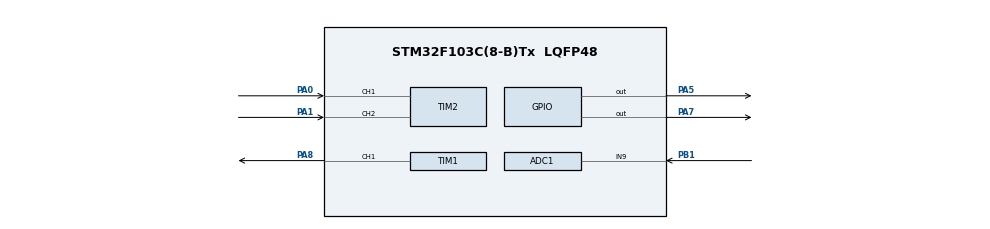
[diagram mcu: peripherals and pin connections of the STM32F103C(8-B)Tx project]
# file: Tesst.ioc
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ADC1.Channel-0\#ChannelRegularConversion=ADC_CHANNEL_9
ADC1.ContinuousConvMode=ENABLE
ADC1.NbrOfConversionFlag=1
ADC1.Rank-0\#ChannelRegularConversion=1
ADC1.SamplingTime-0\#ChannelRegularConversion=ADC_SAMPLETIME_1CYCLE_5
ADC1.master=1
Mcu.Family=STM32F1
Mcu.Name=STM32F103C(8-B)Tx
Mcu.Package=LQFP48
NVIC.PriorityGroup=NVIC_PRIORITYGROUP_4
PA0-WKUP.GPIO_PuPd=GPIO_PULLUP
PA0-WKUP.Signal=S_TIM2_CH1_ETR
PA1.GPIO_PuPd=GPIO_PULLUP
PA1.Signal=S_TIM2_CH2
PA13.Mode=Serial_Wire
PA13.Signal=SYS_JTMS-SWDIO
PA14.Mode=Serial_Wire
PA14.Signal=SYS_JTCK-SWCLK
PA5.Signal=GPIO_Output
PA7.Signal=GPIO_Output
PA8.Signal=S_TIM1_CH1
PB1.Signal=ADCx_IN9
PD0-OSC_IN.Mode=HSE-External-Oscillator
PD0-OSC_IN.Signal=RCC_OSC_IN
PD1-OSC_OUT.Mode=HSE-External-Oscillator
PD1-OSC_OUT.Signal=RCC_OSC_OUT
ProjectManager.HeapSize=0x200
ProjectManager.StackSize=0x400
ProjectManager.TargetToolchain=MDK-ARM V5
RCC.APB1Freq_Value=8000000
RCC.APB2Freq_Value=8000000
SH.ADCx_IN9.0=ADC1_IN9,IN9
SH.S_TIM1_CH1.0=TIM1_CH1,PWM Generation1 CH1
SH.S_TIM2_CH1_ETR.0=TIM2_CH1,Encoder_Interface
SH.S_TIM2_CH2.0=TIM2_CH2,Encoder_Interface
TIM1.Channel-PWM\ Generation1\ CH1=TIM_CHANNEL_1
TIM1.Period=999
TIM1.Pulse-PWM\ Generation1\ CH1=499
TIM2.EncoderMode=TIM_ENCODERMODE_TI12
VP_TIM1_VS_ClockSourceINT.Mode=Internal
board=custom

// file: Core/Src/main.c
/* USER CODE BEGIN Header */
/**
  ******************************************************************************
  * @file           : main.c
  * @brief          : Main program body
  ******************************************************************************
  * @attention
  *
  * <h2><center>&copy; Copyright (c) 2023 STMicroelectronics.
  * All rights reserved.</center></h2>
  *
  * This software component is licensed by ST under BSD 3-Clause license,
  * the "License"; You may not use this file except in compliance with the
  * License. You may obtain a copy of the License at:
  *                        opensource.org/licenses/BSD-3-Clause
  *
  ******************************************************************************
  */
/* USER CODE END Header */
#include "main.h"

ADC_HandleTypeDef hadc1;

TIM_HandleTypeDef htim1;
TIM_HandleTypeDef htim2;

void SystemClock_Config(void);
static void MX_GPIO_Init(void);
static void MX_ADC1_Init(void);
static void MX_TIM1_Init(void);
static void MX_TIM2_Init(void);

int main(void)
{
  /* USER CODE BEGIN 1 */
	volatile short encoder_cnt = 0, encoder_cnt_pre = 0;
	volatile short rate =0;
  /* USER CODE END 1 */

  /* MCU Configuration--------------------------------------------------------*/

  /* Reset of all peripherals, Initializes the Flash interface and the Systick. */
  HAL_Init();

  /* Configure the system clock */
  SystemClock_Config();

  /* Initialize all configured peripherals */
  MX_GPIO_Init();
  MX_TIM2_Init();
  MX_ADC1_Init();
  MX_TIM1_Init();
  /* USER CODE BEGIN 2 */
	HAL_TIM_PWM_Start(&htim1, TIM_CHANNEL_1);
	HAL_TIM_Encoder_Start(&htim2, TIM_CHANNEL_1 | TIM_CHANNEL_2);
	HAL_ADC_Start(&hadc1);  //PB1
  uint16_t readValue;
  int speed;
  HAL_GPIO_WritePin(GPIOA, GPIO_PIN_7, 0);
  HAL_GPIO_WritePin(GPIOA, GPIO_PIN_5, 0);
  /* USER CODE END 2 */

  /* Infinite loop */
  while (1)
  {

    /* USER CODE BEGIN 3 */
		HAL_ADC_PollForConversion(&hadc1,1000);
    readValue = HAL_ADC_GetValue(&hadc1);
    if (readValue < 1790) {
      HAL_GPIO_WritePin(GPIOA, GPIO_PIN_7, 0);
      HAL_GPIO_WritePin(GPIOA, GPIO_PIN_5, 1);
      speed = (readValue - 1790) * (-1) / 3;
    }
		else if (readValue > 2220) {
      HAL_GPIO_WritePin(GPIOA, GPIO_PIN_5, 0);
      HAL_GPIO_WritePin(GPIOA, GPIO_PIN_7, 1);
      speed = (readValue - 2220) / 3;
    }
		else {
      speed = 0;
    }
    __HAL_TIM_SET_COMPARE(&htim1,TIM_CHANNEL_1, speed);
    HAL_Delay(50);
  /* USER CODE END 3 */
}

void SystemClock_Config(void)
{
  RCC_OscInitTypeDef RCC_OscInitStruct = {0};
  RCC_ClkInitTypeDef RCC_ClkInitStruct = {0};
  RCC_PeriphCLKInitTypeDef PeriphClkInit = {0};

  /** Initializes the RCC Oscillators according to the specified parameters
  * in the RCC_OscInitTypeDef structure.
  */
  RCC_OscInitStruct.OscillatorType = RCC_OSCILLATORTYPE_HSI;
  RCC_OscInitStruct.HSIState = RCC_HSI_ON;
  RCC_OscInitStruct.HSICalibrationValue = RCC_HSICALIBRATION_DEFAULT;
  RCC_OscInitStruct.PLL.PLLState = RCC_PLL_NONE;
  if (HAL_RCC_OscConfig(&RCC_OscInitStruct) != HAL_OK)
  {
    Error_Handler();
  }
  /** Initializes the CPU, AHB and APB buses clocks
  */
  RCC_ClkInitStruct.ClockType = RCC_CLOCKTYPE_HCLK|RCC_CLOCKTYPE_SYSCLK
                              |RCC_CLOCKTYPE_PCLK1|RCC_CLOCKTYPE_PCLK2;
  RCC_ClkInitStruct.SYSCLKSource = RCC_SYSCLKSOURCE_HSI;
  RCC_ClkInitStruct.AHBCLKDivider = RCC_SYSCLK_DIV1;
  RCC_ClkInitStruct.APB1CLKDivider = RCC_HCLK_DIV1;
  RCC_ClkInitStruct.APB2CLKDivider = RCC_HCLK_DIV1;

  if (HAL_RCC_ClockConfig(&RCC_ClkInitStruct, FLASH_LATENCY_0) != HAL_OK)
  {
    Error_Handler();
  }
  PeriphClkInit.PeriphClockSelection = RCC_PERIPHCLK_ADC;
  PeriphClkInit.AdcClockSelection = RCC_ADCPCLK2_DIV2;
  if (HAL_RCCEx_PeriphCLKConfig(&PeriphClkInit) != HAL_OK)
  {
    Error_Handler();
  }
}

static void MX_ADC1_Init(void)
{

  ADC_ChannelConfTypeDef sConfig = {0};

  /** Common config
  */
  hadc1.Instance = ADC1;
  hadc1.Init.ScanConvMode = ADC_SCAN_DISABLE;
  hadc1.Init.ContinuousConvMode = ENABLE;
  hadc1.Init.DiscontinuousConvMode = DISABLE;
  hadc1.Init.ExternalTrigConv = ADC_SOFTWARE_START;
  hadc1.Init.DataAlign = ADC_DATAALIGN_RIGHT;
  hadc1.Init.NbrOfConversion = 1;
  if (HAL_ADC_Init(&hadc1) != HAL_OK)
  {
    Error_Handler();
  }
  /** Configure Regular Channel
  */
  sConfig.Channel = ADC_CHANNEL_9;
  sConfig.Rank = ADC_REGULAR_RANK_1;
  sConfig.SamplingTime = ADC_SAMPLETIME_1CYCLE_5;
  if (HAL_ADC_ConfigChannel(&hadc1, &sConfig) != HAL_OK)
  {
    Error_Handler();
  }

}

static void MX_TIM1_Init(void)
{

  TIM_ClockConfigTypeDef sClockSourceConfig = {0};
  TIM_MasterConfigTypeDef sMasterConfig = {0};
  TIM_OC_InitTypeDef sConfigOC = {0};
  TIM_BreakDeadTimeConfigTypeDef sBreakDeadTimeConfig = {0};

  htim1.Instance = TIM1;
  htim1.Init.Prescaler = 0;
  htim1.Init.CounterMode = TIM_COUNTERMODE_UP;
  htim1.Init.Period = 999;
  htim1.Init.ClockDivision = TIM_CLOCKDIVISION_DIV1;
  htim1.Init.RepetitionCounter = 0;
  htim1.Init.AutoReloadPreload = TIM_AUTORELOAD_PRELOAD_DISABLE;
  if (HAL_TIM_Base_Init(&htim1) != HAL_OK)
  {
    Error_Handler();
  }
  sClockSourceConfig.ClockSource = TIM_CLOCKSOURCE_INTERNAL;
  if (HAL_TIM_ConfigClockSource(&htim1, &sClockSourceConfig) != HAL_OK)
  {
    Error_Handler();
  }
  if (HAL_TIM_PWM_Init(&htim1) != HAL_OK)
  {
    Error_Handler();
  }
  sMasterConfig.MasterOutputTrigger = TIM_TRGO_RESET;
  sMasterConfig.MasterSlaveMode = TIM_MASTERSLAVEMODE_DISABLE;
  if (HAL_TIMEx_MasterConfigSynchronization(&htim1, &sMasterConfig) != HAL_OK)
  {
    Error_Handler();
  }
  sConfigOC.OCMode = TIM_OCMODE_PWM1;
  sConfigOC.Pulse = 499;
  sConfigOC.OCPolarity = TIM_OCPOLARITY_HIGH;
  sConfigOC.OCNPolarity = TIM_OCNPOLARITY_HIGH;
  sConfigOC.OCFastMode = TIM_OCFAST_DISABLE;
  sConfigOC.OCIdleState = TIM_OCIDLESTATE_RESET;
  sConfigOC.OCNIdleState = TIM_OCNIDLESTATE_RESET;
  if (HAL_TIM_PWM_ConfigChannel(&htim1, &sConfigOC, TIM_CHANNEL_1) != HAL_OK)
  {
    Error_Handler();
  }
  sBreakDeadTimeConfig.OffStateRunMode = TIM_OSSR_DISABLE;
  sBreakDeadTimeConfig.OffStateIDLEMode = TIM_OSSI_DISABLE;
  sBreakDeadTimeConfig.LockLevel = TIM_LOCKLEVEL_OFF;
  sBreakDeadTimeConfig.DeadTime = 0;
  sBreakDeadTimeConfig.BreakState = TIM_BREAK_DISABLE;
  sBreakDeadTimeConfig.BreakPolarity = TIM_BREAKPOLARITY_HIGH;
  sBreakDeadTimeConfig.AutomaticOutput = TIM_AUTOMATICOUTPUT_DISABLE;
  if (HAL_TIMEx_ConfigBreakDeadTime(&htim1, &sBreakDeadTimeConfig) != HAL_OK)
  {
    Error_Handler();
  }
  HAL_TIM_MspPostInit(&htim1);

}

static void MX_TIM2_Init(void)
{

  TIM_Encoder_InitTypeDef sConfig = {0};
  TIM_MasterConfigTypeDef sMasterConfig = {0};

  htim2.Instance = TIM2;
  htim2.Init.Prescaler = 0;
  htim2.Init.CounterMode = TIM_COUNTERMODE_UP;
  htim2.Init.Period = 65535;
  htim2.Init.ClockDivision = TIM_CLOCKDIVISION_DIV1;
  htim2.Init.AutoReloadPreload = TIM_AUTORELOAD_PRELOAD_DISABLE;
  sConfig.EncoderMode = TIM_ENCODERMODE_TI12;
  sConfig.IC1Polarity = TIM_ICPOLARITY_RISING;
  sConfig.IC1Selection = TIM_ICSELECTION_DIRECTTI;
  sConfig.IC1Prescaler = TIM_ICPSC_DIV1;
  sConfig.IC1Filter = 0;
  sConfig.IC2Polarity = TIM_ICPOLARITY_RISING;
  sConfig.IC2Selection = TIM_ICSELECTION_DIRECTTI;
  sConfig.IC2Prescaler = TIM_ICPSC_DIV1;
  sConfig.IC2Filter = 0;
  if (HAL_TIM_Encoder_Init(&htim2, &sConfig) != HAL_OK)
  {
    Error_Handler();
  }
  sMasterConfig.MasterOutputTrigger = TIM_TRGO_RESET;
  sMasterConfig.MasterSlaveMode = TIM_MASTERSLAVEMODE_DISABLE;
  if (HAL_TIMEx_MasterConfigSynchronization(&htim2, &sMasterConfig) != HAL_OK)
  {
    Error_Handler();
  }

}

static void MX_GPIO_Init(void)
{
  GPIO_InitTypeDef GPIO_InitStruct = {0};

  /* GPIO Ports Clock Enable */
  __HAL_RCC_GPIOD_CLK_ENABLE();
  __HAL_RCC_GPIOA_CLK_ENABLE();
  __HAL_RCC_GPIOB_CLK_ENABLE();

  /*Configure GPIO pin Output Level */
  HAL_GPIO_WritePin(GPIOA, GPIO_PIN_5|GPIO_PIN_7, GPIO_PIN_RESET);

  /*Configure GPIO pins : PA5 PA7 */
  GPIO_InitStruct.Pin = GPIO_PIN_5|GPIO_PIN_7;
  GPIO_InitStruct.Mode = GPIO_MODE_OUTPUT_PP;
  GPIO_InitStruct.Pull = GPIO_NOPULL;
  GPIO_InitStruct.Speed = GPIO_SPEED_FREQ_LOW;
  HAL_GPIO_Init(GPIOA, &GPIO_InitStruct);

}

void Error_Handler(void)
{
}

/************************ (C) COPYRIGHT STMicroelectronics *****END OF FILE****/
